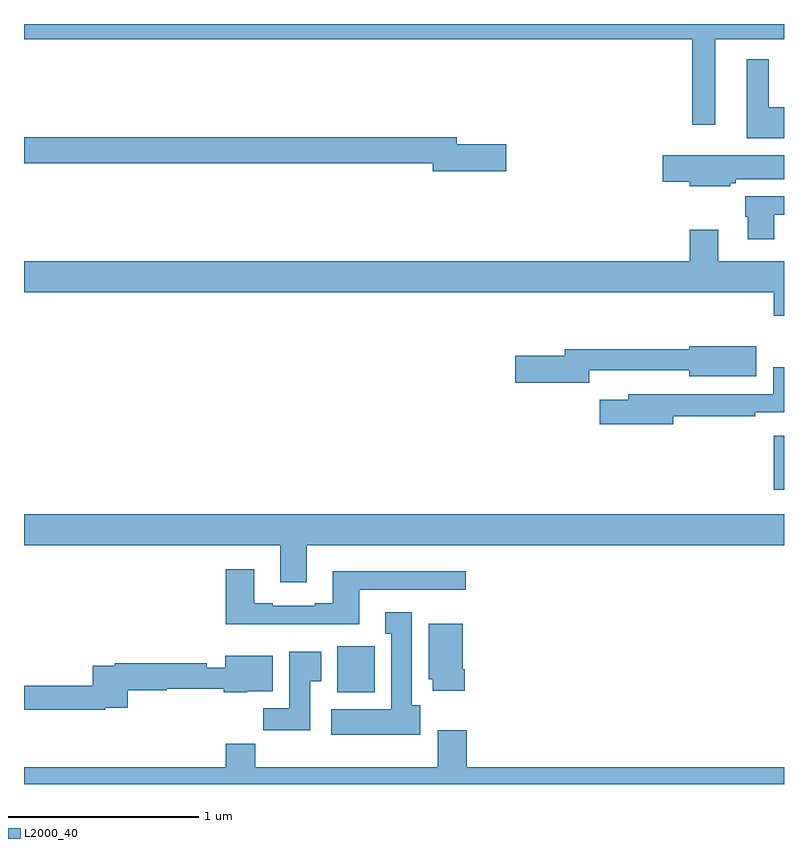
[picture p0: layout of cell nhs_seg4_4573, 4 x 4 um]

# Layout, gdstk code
import gdstk
lib = gdstk.Library(unit=1e-6, precision=1e-09)
def R(c, l, rs):  # rectangles x0, y0, x1, y1
    for r in rs: c.add(gdstk.rectangle(r[:2], r[2:], *l))
def P(c, l, *ps):  # polygons
    for p in ps: c.add(gdstk.Polygon(p, *l))
L2000_40 = (2000, 40)

nhs_seg4_4573 = lib.new_cell('nhs_seg4_4573')
R(nhs_seg4_4573, L2000_40, [(358.649,793.382,358.846,793.624), (360.947,794.448,361,794.733)])
P(nhs_seg4_4573, L2000_40, [(360.637,796.82),(361,796.82),(361,796.9),(357,796.9),(357,796.82),(360.516,796.82),(360.516,796.371),(360.637,796.371)],
  [(361,796.462),(360.919,796.462),(360.919,796.714),(360.803,796.714),(360.803,796.298),(361,796.298)],
  [(359.539,796.268),(359.278,796.268),(359.278,796.304),(357,796.304),(357,796.168),(359.15,796.168),(359.15,796.126),(359.539,796.126)],
  [(360.717,796.063),(360.747,796.063),(360.747,796.082),(361,796.082),(361,796.21),(360.363,796.21),(360.363,796.07),(360.504,796.07),(360.504,796.046),(360.717,796.046)],
  [(360.949,795.897),(361,795.897),(361,795.993),(360.797,795.993),(360.797,795.885),(360.809,795.885),(360.809,795.768),(360.949,795.768)],
  [(361,795.652),(360.655,795.652),(360.655,795.817),(360.503,795.817),(360.503,795.652),(357,795.652),(357,795.488),(360.947,795.488),(360.947,795.364),(361,795.364)],
  [(359.974,795.078),(360.5,795.078),(360.5,795.047),(360.853,795.047),(360.853,795.205),(360.5,795.205),(360.5,795.187),(359.846,795.187),(359.846,795.153),(359.586,795.153),(359.586,795.011),(359.974,795.011)],
  [(360.418,794.836),(360.848,794.836),(360.848,794.856),(361,794.856),(361,795.094),(360.944,795.094),(360.944,794.952),(360.179,794.952),(360.179,794.923),(360.03,794.923),(360.03,794.794),(360.418,794.794)],
  [(358.489,794.156),(361,794.156),(361,794.32),(357,794.32),(357,794.156),(358.349,794.156),(358.349,793.962),(358.489,793.962)],
  [(358.765,793.923),(359.326,793.923),(359.326,794.02),(358.625,794.02),(358.625,793.852),(358.529,793.852),(358.529,793.839),(358.309,793.839),(358.309,793.852),(358.213,793.852),(358.213,794.029),(358.061,794.029),(358.061,793.742),(358.765,793.742)],
  [(359.086,793.314),(359.041,793.314),(359.041,793.804),(358.901,793.804),(358.901,793.691),(358.934,793.691),(358.934,793.294),(358.617,793.294),(358.617,793.16),(359.086,793.16)],
  [(359.321,793.504),(359.308,793.504),(359.308,793.744),(359.129,793.744),(359.129,793.452),(359.15,793.452),(359.15,793.392),(359.321,793.392)],
  [(358.507,793.441),(358.564,793.441),(358.564,793.597),(358.397,793.597),(358.397,793.3),(358.258,793.3),(358.258,793.182),(358.507,793.182)],
  [(357.428,793.302),(357.545,793.302),(357.545,793.393),(357.75,793.393),(357.75,793.401),(358.051,793.401),(358.051,793.382),(358.176,793.382),(358.176,793.388),(358.309,793.388),(358.309,793.576),(358.058,793.576),(358.058,793.512),(357.962,793.512),(357.962,793.535),(357.478,793.535),(357.478,793.522),(357.362,793.522),(357.362,793.418),(357,793.418),(357,793.29),(357.428,793.29)],
  [(359.177,793.183),(359.177,792.988),(358.217,792.988),(358.217,793.112),(358.061,793.112),(358.061,792.988),(357,792.988),(357,792.9),(361,792.9),(361,792.988),(359.33,792.988),(359.33,793.183)])

lib.write_gds('nhs_seg4_4573.gds')
